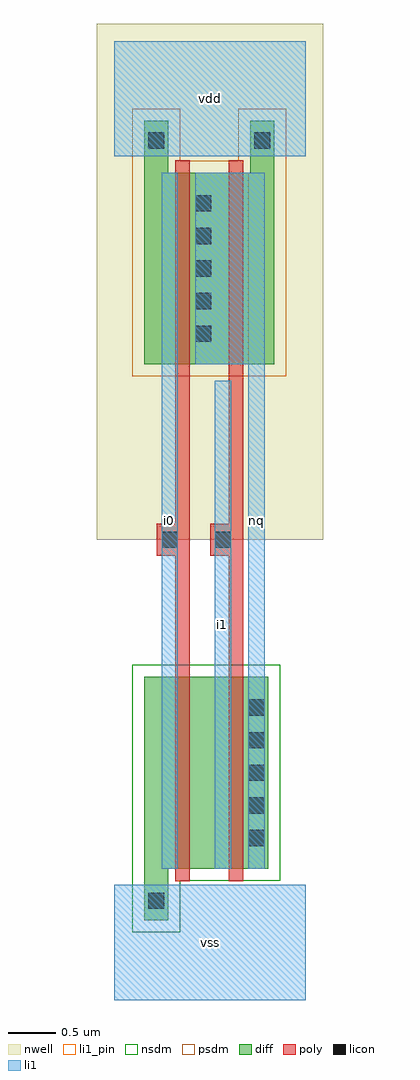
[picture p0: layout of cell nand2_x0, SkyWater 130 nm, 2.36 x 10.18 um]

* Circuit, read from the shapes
.subckt nand2_x0 i0 i1 nq vdd vss
XM1 n1 i0 vss VSUBS sky130_fd_pr__nfet_01v8 w=2 l=0.15
XM2 nq i1 n1 VSUBS sky130_fd_pr__nfet_01v8 w=2 l=0.15
XM3 nq i0 vdd n2 sky130_fd_pr__pfet_01v8 w=2 l=0.15
XM4 vdd i1 nq n2 sky130_fd_pr__pfet_01v8 w=2 l=0.15
.ends

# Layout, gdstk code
import gdstk
lib = gdstk.Library(unit=1e-6, precision=1e-09)
def R(c, l, rs):  # rectangles x0, y0, x1, y1
    for r in rs: c.add(gdstk.rectangle(r[:2], r[2:], *l))
def A(c, l, x, y, w, h, nx, ny, dx, dy):  # array of equal rectangles
    R(c, l, [(x+i*dx, y+j*dy, x+i*dx+w, y+j*dy+h) for i in range(nx) for j in range(ny)])
def P(c, l, *ps):  # polygons
    for p in ps: c.add(gdstk.Polygon(p, *l))
nwell = (64, 20)
diff = (65, 20)
poly = (66, 20)
licon = (66, 44)
li1_pin = (67, 16)
li1 = (67, 20)
nsdm = (93, 44)
psdm = (94, 20)

nand2_x0 = lib.new_cell('nand2_x0')
R(nand2_x0, nwell, [(-0.18,4.8,2.18,10.18)])
P(nand2_x0, diff, [(0.315,0.83),(0.315,3.37),(1.61,3.37),(1.61,1.37),(0.565,1.37),(0.565,0.83)],
  [(0.315,6.63),(0.315,9.17),(0.565,9.17),(0.565,8.63),(1.42,8.63),(1.42,9.17),(1.67,9.17),(1.67,6.63)])
P(nand2_x0, poly, [(0.64,1.24),(0.64,4.635),(0.445,4.635),(0.445,4.965),(0.64,4.965),(0.64,8.76),(0.79,8.76),(0.79,1.24)],
  [(1.195,1.24),(1.195,4.635),(1,4.635),(1,4.965),(1.195,4.965),(1.195,8.76),(1.345,8.76),(1.345,1.24)])
A(nand2_x0, licon, 1.4, 1.605, 0.17, 0.17, 1, 5, 0, 0.34)
A(nand2_x0, licon, 0.845, 6.865, 0.17, 0.17, 1, 5, 0, 0.34)
R(nand2_x0, licon, [(0.355,0.95,0.525,1.12), (0.495,4.715,0.665,4.885), (1.05,4.715,1.22,4.885), (0.355,8.88,0.525,9.05), (1.46,8.88,1.63,9.05)])
R(nand2_x0, li1_pin, [(0,0,2,1.2), (0.495,1.37,0.665,8.63), (1.05,1.37,1.22,6.46), (1.4,1.37,1.57,8.63), (0,8.8,2,10)])
R(nand2_x0, li1, [(0,0,2,1.2), (0.495,1.37,0.665,8.63), (1.05,1.37,1.22,6.46), (0,8.8,2,10)])
P(nand2_x0, li1, [(1.4,1.37),(1.4,6.63),(0.845,6.63),(0.845,8.63),(1.57,8.63),(1.57,1.37)])
P(nand2_x0, nsdm, [(0.19,0.705),(0.19,3.495),(1.735,3.495),(1.735,1.245),(0.69,1.245),(0.69,0.705)])
P(nand2_x0, psdm, [(0.19,6.505),(0.19,9.295),(0.69,9.295),(0.69,8.755),(1.295,8.755),(1.295,9.295),(1.795,9.295),(1.795,6.505)])
nand2_x0.add(gdstk.Label('vss', (1,0.6), layer=67, texttype=16))
nand2_x0.add(gdstk.Label('vdd', (1,9.4), layer=67, texttype=16))
nand2_x0.add(gdstk.Label('i0', (0.58,5), layer=67, texttype=16))
nand2_x0.add(gdstk.Label('nq', (1.485,5), layer=67, texttype=16))
nand2_x0.add(gdstk.Label('i1', (1.135,3.915), layer=67, texttype=16))
nand2_x0.add(gdstk.Label('vss', (1,0.6), layer=67, texttype=16))
nand2_x0.add(gdstk.Label('vdd', (1,9.4), layer=67, texttype=16))
nand2_x0.add(gdstk.Label('i0', (0.58,5), layer=67, texttype=16))
nand2_x0.add(gdstk.Label('nq', (1.485,5), layer=67, texttype=16))
nand2_x0.add(gdstk.Label('i1', (1.135,3.915), layer=67, texttype=16))

lib.write_gds('nand2_x0.gds')
